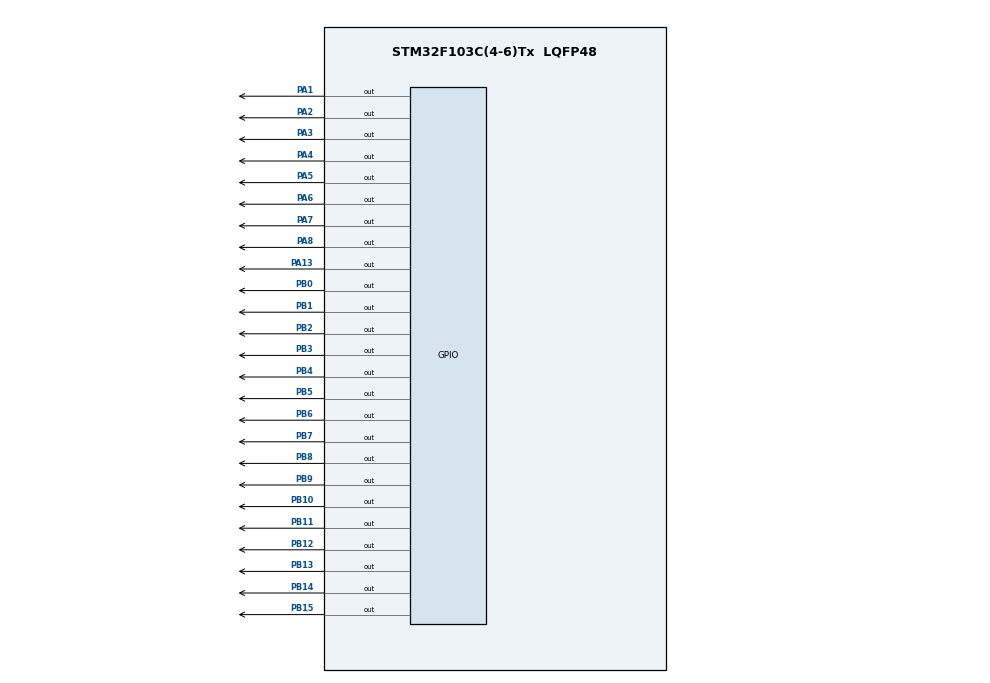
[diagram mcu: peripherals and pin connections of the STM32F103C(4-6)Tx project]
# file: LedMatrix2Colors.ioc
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Mcu.Family=STM32F1
Mcu.Name=STM32F103C(4-6)Tx
Mcu.Package=LQFP48
NVIC.PriorityGroup=NVIC_PRIORITYGROUP_4
NVIC.TIM2_IRQn=true\:0\:0\:false\:false\:true\:true\:true
PA1.Signal=GPIO_Output
PA13.Signal=GPIO_Output
PA2.Signal=GPIO_Output
PA3.Signal=GPIO_Output
PA4.Signal=GPIO_Output
PA5.Signal=GPIO_Output
PA6.Signal=GPIO_Output
PA7.Signal=GPIO_Output
PA8.Signal=GPIO_Output
PB0.Signal=GPIO_Output
PB1.Signal=GPIO_Output
PB10.Signal=GPIO_Output
PB11.Signal=GPIO_Output
PB12.Signal=GPIO_Output
PB13.Signal=GPIO_Output
PB14.Signal=GPIO_Output
PB15.Signal=GPIO_Output
PB2.Signal=GPIO_Output
PB3.Signal=GPIO_Output
PB4.Signal=GPIO_Output
PB5.Signal=GPIO_Output
PB6.Signal=GPIO_Output
PB7.Signal=GPIO_Output
PB8.Signal=GPIO_Output
PB9.Signal=GPIO_Output
ProjectManager.HeapSize=0x200
ProjectManager.StackSize=0x400
ProjectManager.TargetToolchain=STM32CubeIDE
RCC.APB1Freq_Value=8000000
RCC.APB2Freq_Value=8000000
TIM2.AutoReloadPreload=TIM_AUTORELOAD_PRELOAD_ENABLE
TIM2.Period=9
TIM2.Prescaler=799
VP_SYS_VS_ND.Mode=No_Debug
VP_TIM2_VS_ClockSourceINT.Mode=Internal
board=custom

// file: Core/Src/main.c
/* USER CODE BEGIN Header */
/**
  ******************************************************************************
  * @file           : main.c
  * @brief          : Main program body
  ******************************************************************************
  * @attention
  *
  * <h2><center>&copy; Copyright (c) 2021 STMicroelectronics.
  * All rights reserved.</center></h2>
  *
  * This software component is licensed by ST under BSD 3-Clause license,
  * the "License"; You may not use this file except in compliance with the
  * License. You may obtain a copy of the License at:
  *                        opensource.org/licenses/BSD-3-Clause
  *
  ******************************************************************************
  */
/* USER CODE END Header */
#include "main.h"

/* USER CODE BEGIN PTD */
#define NO_OF_TIMERS 3
/* USER CODE END PTD */

TIM_HandleTypeDef htim2;

/* USER CODE BEGIN PV */
const int MAX_LED_MATRIX = 8;
int index_col_led_matrix = 0;

enum status{
	RED,
	GREEN,
	MIX
};

enum direction{
	VER,
	VER_REV,
	HOR,
	HOR_REV
};

//uint8_t matrix_buffer[8] = {0x01, 0x06, 0x38, 0xC8, 0xC8, 0x38, 0x06, 0x01};
//
uint8_t matrix_buffer[8] = {0xff, 0xff,0x18,0x18,0x18,0x18,0xff,0xff};
uint8_t charA[8] = {0x00,0x06,0x38,0x48,0x48,0x38,0x06,0x00};
uint8_t charAR[8] = {0x81,0x42,0x42,0x3c,0x24,0x24,0x18,0x18};
uint8_t charH[8] = {0xff, 0xff,0x18,0x18,0x18,0x18,0xff,0xff};

uint16_t row_red_pin[8] = {RowRed1,RowRed2,RowRed3,RowRed4,RowRed5,RowRed6,RowRed7,RowRed8};
uint16_t row_green_pin[8] = {RowGreen1,RowGreen2,RowGreen3,RowGreen4,RowGreen5,RowGreen6,RowGreen7,RowGreen8};
uint16_t col_pin[8] = {Col1,Col2,Col3,Col4,Col5,Col6,Col7,Col8};

int TIMER_CYCLE;

int timer_counter[NO_OF_TIMERS];
int timer_flag[NO_OF_TIMERS];

/* USER CODE END PV */

void SystemClock_Config(void);
static void MX_TIM2_Init(void);
static void MX_GPIO_Init(void);
/* USER CODE BEGIN PFP */
void clearLED(void);
void updateLEDMatrixBuffer(uint8_t *);
void updateLEDMatrix(int,enum status,enum direction);
void shiftLeftMatrix();
void shiftRightMatrix();
void shiftUpMatrix();
void shiftDownMatrix();

void setTimer(int, int);
void timer_run(void);
/* USER CODE END PFP */

int main(void)
{

  /* MCU Configuration--------------------------------------------------------*/

  /* Reset of all peripherals, Initializes the Flash interface and the Systick. */
  HAL_Init();

  /* Configure the system clock */
  SystemClock_Config();

  /* Initialize all configured peripherals */
  MX_TIM2_Init();
  MX_GPIO_Init();
  /* USER CODE BEGIN 2 */
  HAL_TIM_Base_Start_IT(&htim2);
  /* USER CODE END 2 */

  /* Infinite loop */
  /* USER CODE BEGIN WHILE */

  setTimer(0,TIMER_CYCLE);
  setTimer(1,TIMER_CYCLE);
  setTimer(2,TIMER_CYCLE);
  enum status curent_state = GREEN;
  enum direction flow= VER;
  updateLEDMatrixBuffer(charA);
  char is_First = 1;
  while (1)
  {
	  if(timer_flag[0]){
		  timer_flag[0] = 0;
		  setTimer(0,200);
		  if(is_First) is_First = 0;
		  else{
			  shiftLeftMatrix();
//			  shiftUpMatrix();
//			  shiftDownMatrix();
		  }
	  }

	  if(timer_flag[1]){
		  timer_flag[1] = 0;
		  setTimer(1,200);
		  HAL_GPIO_TogglePin(LedPort,LedPin);
	  }

	  if(timer_flag[2]) {
		  timer_flag[2] = 0;
		  setTimer(2,2);
		  updateLEDMatrix(index_col_led_matrix++,curent_state,flow);
		  if(index_col_led_matrix == MAX_LED_MATRIX) index_col_led_matrix = 0;
	  }
    /* USER CODE END WHILE */

  }
}

void SystemClock_Config(void)
{
  RCC_OscInitTypeDef RCC_OscInitStruct = {0};
  RCC_ClkInitTypeDef RCC_ClkInitStruct = {0};

  /** Initializes the RCC Oscillators according to the specified parameters
  * in the RCC_OscInitTypeDef structure.
  */
  RCC_OscInitStruct.OscillatorType = RCC_OSCILLATORTYPE_HSI;
  RCC_OscInitStruct.HSIState = RCC_HSI_ON;
  RCC_OscInitStruct.HSICalibrationValue = RCC_HSICALIBRATION_DEFAULT;
  RCC_OscInitStruct.PLL.PLLState = RCC_PLL_NONE;
  if (HAL_RCC_OscConfig(&RCC_OscInitStruct) != HAL_OK)
  {
    Error_Handler();
  }
  /** Initializes the CPU, AHB and APB buses clocks
  */
  RCC_ClkInitStruct.ClockType = RCC_CLOCKTYPE_HCLK|RCC_CLOCKTYPE_SYSCLK
                              |RCC_CLOCKTYPE_PCLK1|RCC_CLOCKTYPE_PCLK2;
  RCC_ClkInitStruct.SYSCLKSource = RCC_SYSCLKSOURCE_HSI;
  RCC_ClkInitStruct.AHBCLKDivider = RCC_SYSCLK_DIV1;
  RCC_ClkInitStruct.APB1CLKDivider = RCC_HCLK_DIV1;
  RCC_ClkInitStruct.APB2CLKDivider = RCC_HCLK_DIV1;

  if (HAL_RCC_ClockConfig(&RCC_ClkInitStruct, FLASH_LATENCY_0) != HAL_OK)
  {
    Error_Handler();
  }
}

static void MX_TIM2_Init(void)
{

  TIM_ClockConfigTypeDef sClockSourceConfig = {0};
  TIM_MasterConfigTypeDef sMasterConfig = {0};

  htim2.Instance = TIM2;
  htim2.Init.Prescaler = 799;
  htim2.Init.CounterMode = TIM_COUNTERMODE_UP;
  htim2.Init.Period = 9;
  htim2.Init.ClockDivision = TIM_CLOCKDIVISION_DIV1;
  htim2.Init.AutoReloadPreload = TIM_AUTORELOAD_PRELOAD_ENABLE;
  if (HAL_TIM_Base_Init(&htim2) != HAL_OK)
  {
    Error_Handler();
  }
  sClockSourceConfig.ClockSource = TIM_CLOCKSOURCE_INTERNAL;
  if (HAL_TIM_ConfigClockSource(&htim2, &sClockSourceConfig) != HAL_OK)
  {
    Error_Handler();
  }
  sMasterConfig.MasterOutputTrigger = TIM_TRGO_RESET;
  sMasterConfig.MasterSlaveMode = TIM_MASTERSLAVEMODE_DISABLE;
  if (HAL_TIMEx_MasterConfigSynchronization(&htim2, &sMasterConfig) != HAL_OK)
  {
    Error_Handler();
  }
  /* USER CODE BEGIN TIM2_Init 2 */
  	TIMER_CYCLE = ((htim2.Init.Prescaler+1) * (htim2.Init.Period+1) / 8000);
  /* USER CODE END TIM2_Init 2 */

}

static void MX_GPIO_Init(void)
{
  GPIO_InitTypeDef GPIO_InitStruct = {0};

  /* GPIO Ports Clock Enable */
  __HAL_RCC_GPIOA_CLK_ENABLE();
  __HAL_RCC_GPIOB_CLK_ENABLE();

  /*Configure GPIO pin Output Level */
  HAL_GPIO_WritePin(GPIOA, GPIO_PIN_1|GPIO_PIN_2|GPIO_PIN_3|GPIO_PIN_4
                          |GPIO_PIN_5|GPIO_PIN_6|GPIO_PIN_7|GPIO_PIN_8
                          |GPIO_PIN_13, GPIO_PIN_RESET);

  /*Configure GPIO pin Output Level */
  HAL_GPIO_WritePin(GPIOB, GPIO_PIN_0|GPIO_PIN_1|GPIO_PIN_2|GPIO_PIN_10
                          |GPIO_PIN_11|GPIO_PIN_12|GPIO_PIN_13|GPIO_PIN_14
                          |GPIO_PIN_15|GPIO_PIN_3|GPIO_PIN_4|GPIO_PIN_5
                          |GPIO_PIN_6|GPIO_PIN_7|GPIO_PIN_8|GPIO_PIN_9, GPIO_PIN_RESET);

  /*Configure GPIO pins : PA1 PA2 PA3 PA4
                           PA5 PA6 PA7 PA8
                           PA13 */
  GPIO_InitStruct.Pin = GPIO_PIN_1|GPIO_PIN_2|GPIO_PIN_3|GPIO_PIN_4
                          |GPIO_PIN_5|GPIO_PIN_6|GPIO_PIN_7|GPIO_PIN_8
                          |GPIO_PIN_13;
  GPIO_InitStruct.Mode = GPIO_MODE_OUTPUT_PP;
  GPIO_InitStruct.Pull = GPIO_NOPULL;
  GPIO_InitStruct.Speed = GPIO_SPEED_FREQ_LOW;
  HAL_GPIO_Init(GPIOA, &GPIO_InitStruct);

  /*Configure GPIO pins : PB0 PB1 PB2 PB10
                           PB11 PB12 PB13 PB14
                           PB15 PB3 PB4 PB5
                           PB6 PB7 PB8 PB9 */
  GPIO_InitStruct.Pin = GPIO_PIN_0|GPIO_PIN_1|GPIO_PIN_2|GPIO_PIN_10
                          |GPIO_PIN_11|GPIO_PIN_12|GPIO_PIN_13|GPIO_PIN_14
                          |GPIO_PIN_15|GPIO_PIN_3|GPIO_PIN_4|GPIO_PIN_5
                          |GPIO_PIN_6|GPIO_PIN_7|GPIO_PIN_8|GPIO_PIN_9;
  GPIO_InitStruct.Mode = GPIO_MODE_OUTPUT_PP;
  GPIO_InitStruct.Pull = GPIO_NOPULL;
  GPIO_InitStruct.Speed = GPIO_SPEED_FREQ_LOW;
  HAL_GPIO_Init(GPIOB, &GPIO_InitStruct);

}

/* USER CODE BEGIN 4 */

void clearLED(){
	HAL_GPIO_WritePin(ColPort, Col1|Col2|Col3|Col4|Col5|Col6|Col7|Col8, 1);
	HAL_GPIO_WritePin(RowPort, RowRed1|RowRed2|RowRed3|RowRed4|RowRed5|RowRed6|RowRed7|RowRed8, 0);
	HAL_GPIO_WritePin(RowPort, RowGreen1|RowGreen2|RowGreen3|RowGreen4|RowGreen5|RowGreen6|RowGreen7|RowGreen8, 0);
}

void updateLEDMatrixBuffer(uint8_t * character){
	for(int i = 0 ; i < 8; i++){
		matrix_buffer[i] = character[i];
	}
}

void updateLEDMatrix(int index, enum status state_current,enum direction flow) {
	clearLED();
	int flag_led = 0;
	switch(state_current){
	case RED:
		switch(flow){
		case VER:
		case HOR:
			for(int i = 0; i < 8; i++) {
				if(matrix_buffer[index] & (0x80 >> i)) {
					HAL_GPIO_WritePin(RowPort, row_red_pin[i],1);
				}
			}
			break;
		case VER_REV:
			for(int i = 0; i < 8; i++) {
				if(matrix_buffer[index] & (0x01 << i)) {
					HAL_GPIO_WritePin(RowPort, row_red_pin[i],1);
				}
			}
			break;
		case HOR_REV:
			for(int i = 0; i < 8; i++) {
				if(matrix_buffer[7-index] & (0x80 >> i)) {
					HAL_GPIO_WritePin(RowPort, row_red_pin[i],1);
				}
			}
			break;
		}
		break;
	case GREEN:
		switch(flow){
		case VER:
		case HOR:
			for(int i = 0; i < 8; i++) {
				if(matrix_buffer[index] & (0x80 >> i)) {
					HAL_GPIO_WritePin(RowPort, row_green_pin[i],1);
				}
			}
			break;
		case VER_REV:
			for(int i = 0; i < 8; i++) {
				if(matrix_buffer[index] & (0x01 << i)) {
					HAL_GPIO_WritePin(RowPort, row_green_pin[i],1);
				}
			}
			break;
		case HOR_REV:
			for(int i = 0; i < 8; i++) {
				if(matrix_buffer[7-index] & (0x80 >> i)) {
					HAL_GPIO_WritePin(RowPort, row_green_pin[i],1);
				}
			}
			break;
		}
		break;
	case MIX:
		switch(flow){
		case VER:
		case HOR:
			for(int i = 0; i < 8; i++) {
				if(matrix_buffer[index] & (0x80 >> i)) {
					if(flag_led){
						HAL_GPIO_WritePin(RowPort, row_green_pin[i], 1);
						flag_led = 0;
					}
					else{
						HAL_GPIO_WritePin(RowPort, row_red_pin[i], 1);
						flag_led = 1;
					}
				}
			}
			break;
		case VER_REV:
			for(int i = 0; i < 8; i++) {
				if(matrix_buffer[index] & (0x01 << i)) {
					if(flag_led){
						HAL_GPIO_WritePin(RowPort, row_green_pin[i], 1);
						flag_led = 0;
					}
					else{
						HAL_GPIO_WritePin(RowPort, row_red_pin[i], 1);
						flag_led = 1;
					}
				}
			}
			break;
		case HOR_REV:
			for(int i = 0; i < 8; i++) {
				if(matrix_buffer[7-index] & (0x80 >> i)) {
					if(flag_led){
						HAL_GPIO_WritePin(RowPort, row_green_pin[i], 1);
						flag_led = 0;
					}
					else{
						HAL_GPIO_WritePin(RowPort, row_red_pin[i], 1);
						flag_led = 1;
					}
				}
			}
			break;
		}
//		for(int i = 0; i < 8; i++) {
//			if(matrix_buffer[index] & (0x80 >> i)) {
//				if(flag_led){
//					HAL_GPIO_WritePin(RowPort, row_green_pin[i], 1);
//					flag_led = 0;
//				}
//				else{
//					HAL_GPIO_WritePin(RowPort, row_red_pin[i], 1);
//					flag_led = 1;
//				}
//			}
//		}
		break;
	default: break;
	}
	HAL_GPIO_WritePin(ColPort, col_pin[index], 0);
}
void shiftRightMatrix() {
//	static int shamt = 0;
//
//	for(int i = 0; i < MAX_LED_MATRIX; i++) {
//		if(i+shamt >= 0 && i+shamt < MAX_LED_MATRIX) matrix_buffer[i] = character[i+shamt];
//		else matrix_buffer[i] = 0x0;
//	}
//
//	shamt++;
//	if(shamt == MAX_LED_MATRIX) shamt = -7;
	uint8_t old = matrix_buffer[0];
	for(int i = 0 ; i < 8; i++)  matrix_buffer[i] = matrix_buffer[i+1];
	matrix_buffer[7] = old;
}

void shiftLeftMatrix(){
//	static int shamt = 0;
//
//	for(int i = 7; i > -1; i--) {
//		if(i+shamt <= 7 && i+shamt > -1 ) matrix_buffer[i] = character[i+shamt];
//		else matrix_buffer[i] = 0x0;
//	}
//
//	shamt--;
//	if(shamt == -8) shamt = 7;
	uint8_t old = matrix_buffer[7];
	for(int i = 7; i > 0; i--) matrix_buffer[i] = matrix_buffer[i-1];
	matrix_buffer[0] = old;
}

void shiftUpMatrix(){
	for(int i = 0; i < 8; i++){
		int b = matrix_buffer[i] & 0x01;
		matrix_buffer[i] >>= 1;
		if(b == 1) matrix_buffer[i] = matrix_buffer[i] | (1 << 7);
		else matrix_buffer[i] = matrix_buffer[i] & ~(1 << 7);
	}
}

void shiftDownMatrix(){
	for(int i = 0; i < 8; i++){
		int b = matrix_buffer[i] & 0x80;
		matrix_buffer[i] <<= 1;
		if(b == 128) matrix_buffer[i] = matrix_buffer[i] | (1 << 0);
		else matrix_buffer[i] = matrix_buffer[i] & ~(1 << 0);
	}
}

void setTimer(int timer, int duration) {
	timer_counter[timer] = duration / TIMER_CYCLE;
	timer_flag[timer] = 0;
}

void timer_run() {
	for(int i = 0; i < NO_OF_TIMERS; i++) {
		if(timer_counter[i] > 0) {
			timer_counter[i]--;
			if(timer_counter[i] == 0) {
				timer_flag[i] = 1;
			}
		}
	}
}

void HAL_TIM_PeriodElapsedCallback(TIM_HandleTypeDef*htim) {
	timer_run();
}
/* USER CODE END 4 */

void Error_Handler(void)
{
  __disable_irq();
  while (1)
  {
  }
}

/************************ (C) COPYRIGHT STMicroelectronics *****END OF FILE****/
